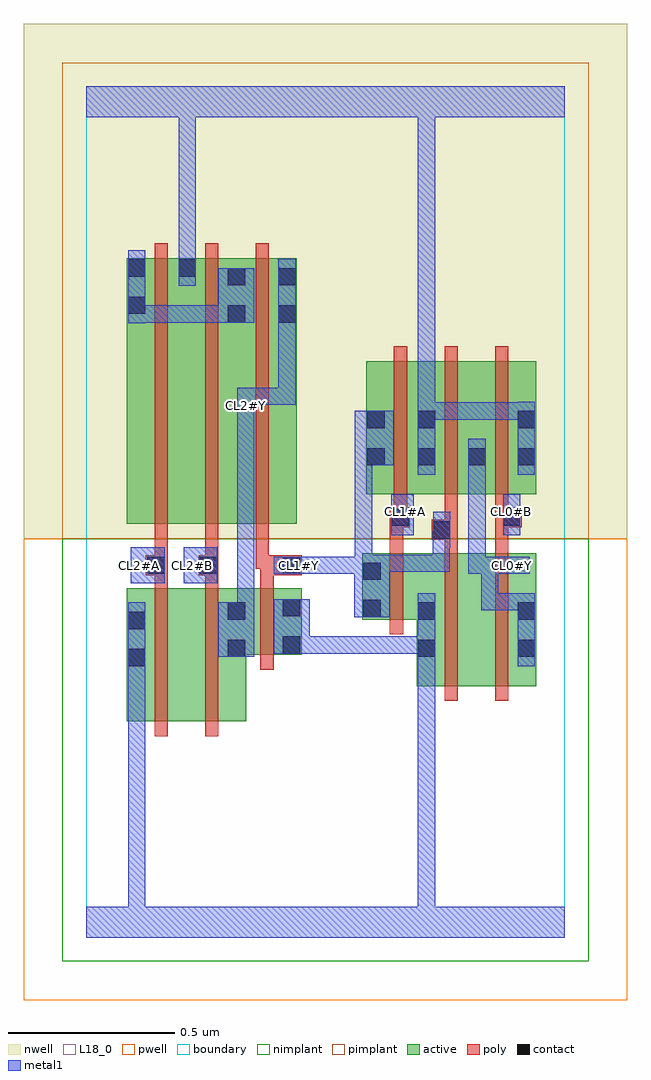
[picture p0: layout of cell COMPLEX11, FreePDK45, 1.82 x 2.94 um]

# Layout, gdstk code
import gdstk
lib = gdstk.Library(unit=1e-6, precision=1e-09)
def R(c, l, rs):  # rectangles x0, y0, x1, y1
    for r in rs: c.add(gdstk.rectangle(r[:2], r[2:], *l))
def A(c, l, x, y, w, h, nx, ny, dx, dy):  # array of equal rectangles
    R(c, l, [(x+i*dx, y+j*dy, x+i*dx+w, y+j*dy+h) for i in range(nx) for j in range(ny)])
active = (1, 0)
pwell = (2, 0)
nwell = (3, 0)
nimplant = (4, 0)
pimplant = (5, 0)
poly = (9, 0)
contact = (10, 0)
metal1 = (11, 0)
L18_0 = (18, 0)
boundary = (235, 0)

complex11 = lib.new_cell('COMPLEX11')
R(complex11, active, [(0.122,0.65,0.182,1.05), (0.122,0.65,0.302,1.05), (0.302,0.65,0.482,1.05), (0.994,0.756,1.174,1.156), (1.174,0.756,1.354,1.156), (1.294,0.756,1.354,1.156), (0.422,0.84,0.482,1.05), (0.994,0.84,1.054,1.028), (0.422,0.85,0.648,1.05), (0.588,0.85,0.648,1.05), (0.83,0.956,1.054,1.156), (0.83,0.956,0.89,1.156), (0.122,1.244,0.182,2.044), (0.122,1.244,0.334,2.044), (0.274,1.244,0.482,2.044), (0.422,1.244,0.634,2.044), (0.574,1.244,0.634,2.044), (0.422,1.31,0.482,2.044), (0.842,1.334,0.902,1.644), (0.842,1.334,1.054,1.734), (0.994,1.334,1.206,1.734), (1.146,1.334,1.354,1.734), (1.294,1.334,1.354,1.644), (0.994,1.416,1.054,1.644), (1.146,1.416,1.206,1.644), (0.274,1.448,0.334,2.044)])
R(complex11, pwell, [(-0.188,-0.188,1.628,1.2)])
R(complex11, nwell, [(-0.188,1.2,1.628,2.748)])
R(complex11, nimplant, [(-0.072,-0.072,1.512,1.2)])
R(complex11, pimplant, [(-0.072,1.2,1.512,2.632)])
A(complex11, poly, 0.206, 1.11, 0.04, 0.13, 3, 1, 0.152, 0)
A(complex11, poly, 0.206, 1.2, 0.04, 0.888, 3, 1, 0.152, 0)
A(complex11, poly, 0.926, 1.29, 0.04, 0.488, 3, 1, 0.152, 0)
R(complex11, poly, [(0.206,0.606,0.246,1.094), (0.358,0.606,0.398,1.094), (1.078,0.712,1.118,1.2), (1.23,0.712,1.27,1.2), (0.524,0.806,0.564,1.094), (0.914,0.912,0.954,1.2), (0.206,1.054,0.246,1.13), (0.358,1.054,0.398,1.13), (0.524,1.054,0.564,1.13), (0.18,1.09,0.246,1.15), (0.206,1.09,0.246,1.13), (0.206,1.09,0.246,1.13), (0.338,1.09,0.398,1.15), (0.524,1.09,0.648,1.15), (0.358,1.11,0.398,1.15), (0.358,1.11,0.398,1.15), (0.51,1.11,0.564,1.15), (0.524,1.11,0.564,1.15), (0.914,1.16,0.954,1.274), (1.078,1.16,1.118,1.236), (1.23,1.16,1.27,1.274), (1.04,1.196,1.118,1.256), (1.078,1.216,1.118,1.256), (1.078,1.216,1.118,1.256), (1.078,1.216,1.118,1.33), (0.914,1.234,0.954,1.274), (0.914,1.234,0.954,1.274), (0.914,1.234,0.974,1.294), (1.23,1.234,1.27,1.274), (1.23,1.234,1.27,1.274), (1.23,1.234,1.31,1.294), (0.926,1.254,0.966,1.33), (1.23,1.254,1.27,1.33)])
A(complex11, contact, 0.846, 1.42, 0.052, 0.052, 3, 1, 0.152, 0)
R(complex11, contact, [(0.126,0.816,0.178,0.868), (0.426,0.844,0.478,0.896), (0.998,0.844,1.05,0.896), (1.298,0.844,1.35,0.896), (0.592,0.854,0.644,0.906), (0.126,0.928,0.178,0.98), (0.426,0.956,0.478,1.008), (0.998,0.956,1.05,1.008), (1.298,0.956,1.35,1.008), (0.834,0.964,0.886,1.016), (0.592,0.966,0.644,1.018), (0.834,1.076,0.886,1.128), (0.184,1.094,0.236,1.146), (0.342,1.094,0.394,1.146), (0.592,1.094,0.644,1.146), (1.044,1.2,1.096,1.252), (0.918,1.238,0.97,1.29), (1.254,1.238,1.306,1.29), (1.298,1.42,1.35,1.472), (0.846,1.532,0.898,1.584), (0.998,1.532,1.05,1.584), (1.298,1.532,1.35,1.584), (0.426,1.85,0.478,1.902), (0.578,1.85,0.63,1.902), (0.126,1.876,0.178,1.928), (0.426,1.962,0.478,2.014), (0.578,1.962,0.63,2.014), (0.126,1.988,0.178,2.04), (0.278,1.988,0.33,2.04)])
R(complex11, metal1, [(0,0,1.44,0.092), (0.126,0.04,0.178,0.092), (0.126,0.04,0.178,0.092), (0.126,0.04,0.178,0.092), (0.126,0.04,0.178,0.092), (0.126,0.04,0.178,0.092), (0.126,0.04,0.178,0.092), (0.126,0.04,0.178,0.84), (0.998,0.04,1.05,0.092), (0.998,0.04,1.05,0.092), (0.998,0.04,1.05,0.092), (0.998,0.04,1.05,0.092), (0.998,0.04,1.05,0.092), (0.998,0.04,1.05,0.092), (0.998,0.04,1.05,0.092), (0.998,0.04,1.05,0.092), (0.998,0.04,1.05,0.092), (0.998,0.04,1.05,0.092), (0.998,0.04,1.05,0.092), (0.998,0.04,1.05,0.092), (0.998,0.04,1.05,0.868), (0.126,0.788,0.178,0.84), (0.126,0.788,0.178,0.84), (0.126,0.788,0.178,0.84), (0.126,0.788,0.178,0.84), (0.126,0.788,0.178,0.84), (0.126,0.788,0.178,0.84), (0.126,0.788,0.178,1.008), (0.998,0.816,1.05,1.036), (1.298,0.816,1.35,1.036), (0.398,0.844,0.506,1.008), (0.564,0.854,0.672,1.018), (0.62,0.854,0.804,0.906), (0.752,0.854,0.804,0.906), (0.752,0.854,0.804,0.906), (0.752,0.854,0.804,0.906), (0.752,0.854,0.804,0.906), (0.752,0.854,0.804,0.906), (0.752,0.854,0.804,0.906), (0.752,0.854,0.804,0.906), (0.752,0.854,1.05,0.906), (0.454,0.956,0.506,1.598), (0.806,0.964,0.914,1.128), (1.188,0.984,1.24,1.036), (1.188,0.984,1.24,1.036), (1.188,0.984,1.24,1.036), (1.188,0.984,1.35,1.036), (1.188,0.984,1.24,1.146), (0.134,1.066,0.236,1.174), (0.294,1.066,0.394,1.174), (0.808,1.076,0.86,1.146), (0.564,1.094,0.694,1.146), (0.642,1.094,0.694,1.146), (0.642,1.094,0.694,1.146), (0.642,1.094,0.86,1.146), (0.808,1.094,0.86,1.152), (1.15,1.094,1.202,1.444), (1.15,1.094,1.334,1.146), (0.808,1.1,0.86,1.152), (0.808,1.1,0.86,1.152), (0.808,1.1,1.094,1.152), (0.808,1.1,0.86,1.472), (1.042,1.1,1.094,1.224), (1.042,1.172,1.096,1.224), (1.044,1.172,1.096,1.28), (0.918,1.21,0.986,1.334), (1.254,1.21,1.306,1.334), (0.998,1.392,1.05,1.612), (1.15,1.392,1.202,1.444), (1.15,1.392,1.202,1.444), (1.15,1.392,1.202,1.5), (1.298,1.392,1.35,1.612), (0.808,1.42,0.86,1.472), (0.808,1.42,0.86,1.472), (0.808,1.42,0.926,1.584), (0.454,1.546,0.506,1.654), (0.998,1.558,1.05,1.61), (0.998,1.558,1.05,1.61), (0.998,1.558,1.204,1.61), (1.152,1.558,1.204,1.61), (1.152,1.558,1.35,1.61), (1.298,1.558,1.35,1.61), (1.298,1.558,1.35,1.61), (0.998,1.56,1.05,1.612), (0.998,1.56,1.05,1.612), (0.998,1.56,1.05,2.52), (0.454,1.602,0.506,1.654), (0.454,1.602,0.506,1.654), (0.454,1.602,0.506,1.654), (0.454,1.602,0.506,1.654), (0.454,1.602,0.63,1.654), (0.578,1.602,0.63,1.654), (0.578,1.602,0.63,1.874), (0.578,1.822,0.63,2.042), (0.126,1.848,0.178,2.068), (0.126,1.85,0.178,1.902), (0.126,1.85,0.178,1.902), (0.126,1.85,0.34,1.902), (0.288,1.85,0.34,1.902), (0.288,1.85,0.34,1.902), (0.288,1.85,0.34,1.902), (0.288,1.85,0.45,1.902), (0.398,1.85,0.506,2.014), (0.278,1.96,0.33,2.068), (0.278,2.016,0.33,2.068), (0.278,2.016,0.33,2.068), (0.278,2.016,0.33,2.068), (0.278,2.016,0.33,2.068), (0.278,2.016,0.33,2.52), (0,2.468,1.44,2.56), (0.278,2.468,0.33,2.52), (0.278,2.468,0.33,2.52), (0.278,2.468,0.33,2.52), (0.278,2.468,0.33,2.52), (0.998,2.468,1.05,2.52), (0.998,2.468,1.05,2.52), (0.998,2.468,1.05,2.52), (0.998,2.468,1.05,2.52), (0.998,2.468,1.05,2.52), (0.998,2.468,1.05,2.52), (0.998,2.468,1.05,2.52), (0.998,2.468,1.05,2.52), (0.998,2.468,1.05,2.52), (0.998,2.468,1.05,2.52), (0.998,2.468,1.05,2.52), (0.998,2.468,1.05,2.52), (0.998,2.468,1.05,2.52), (0.998,2.468,1.05,2.52)])
R(complex11, L18_0, [(0,0,1.44,0.092), (0.126,0.04,0.178,0.092), (0.126,0.04,0.178,0.092), (0.126,0.04,0.178,0.092), (0.126,0.04,0.178,0.092), (0.126,0.04,0.178,0.092), (0.126,0.04,0.178,0.092), (0.126,0.04,0.178,0.84), (0.998,0.04,1.05,0.092), (0.998,0.04,1.05,0.092), (0.998,0.04,1.05,0.092), (0.998,0.04,1.05,0.092), (0.998,0.04,1.05,0.092), (0.998,0.04,1.05,0.092), (0.998,0.04,1.05,0.092), (0.998,0.04,1.05,0.092), (0.998,0.04,1.05,0.092), (0.998,0.04,1.05,0.092), (0.998,0.04,1.05,0.092), (0.998,0.04,1.05,0.092), (0.998,0.04,1.05,0.868), (0.126,0.788,0.178,0.84), (0.126,0.788,0.178,0.84), (0.126,0.788,0.178,0.84), (0.126,0.788,0.178,0.84), (0.126,0.788,0.178,0.84), (0.126,0.788,0.178,0.84), (0.126,0.788,0.178,1.008), (0.998,0.816,1.05,1.036), (1.298,0.816,1.35,1.036), (0.398,0.844,0.506,1.008), (0.564,0.854,0.672,1.018), (0.62,0.854,0.804,0.906), (0.752,0.854,0.804,0.906), (0.752,0.854,0.804,0.906), (0.752,0.854,0.804,0.906), (0.752,0.854,0.804,0.906), (0.752,0.854,0.804,0.906), (0.752,0.854,0.804,0.906), (0.752,0.854,0.804,0.906), (0.752,0.854,1.05,0.906), (0.454,0.956,0.506,1.598), (0.806,0.964,0.914,1.128), (1.188,0.984,1.24,1.036), (1.188,0.984,1.24,1.036), (1.188,0.984,1.24,1.036), (1.188,0.984,1.24,1.146), (1.188,0.984,1.35,1.036), (0.134,1.066,0.236,1.174), (0.294,1.066,0.394,1.174), (0.808,1.076,0.86,1.146), (0.134,1.094,0.186,1.146), (0.294,1.094,0.346,1.146), (0.564,1.094,0.694,1.146), (0.614,1.094,0.666,1.146), (0.642,1.094,0.694,1.146), (0.642,1.094,0.694,1.146), (0.642,1.094,0.86,1.146), (0.808,1.094,0.86,1.152), (1.15,1.094,1.334,1.146), (1.15,1.094,1.202,1.444), (1.254,1.094,1.306,1.146), (0.808,1.1,0.86,1.152), (0.808,1.1,0.86,1.152), (0.808,1.1,0.86,1.472), (0.808,1.1,1.094,1.152), (1.042,1.1,1.094,1.224), (1.042,1.172,1.096,1.224), (1.044,1.172,1.096,1.28), (0.918,1.21,0.986,1.334), (1.254,1.21,1.306,1.334), (0.934,1.254,0.986,1.306), (1.254,1.254,1.306,1.306), (0.998,1.392,1.05,1.612), (1.15,1.392,1.202,1.444), (1.15,1.392,1.202,1.444), (1.15,1.392,1.202,1.5), (1.298,1.392,1.35,1.612), (0.808,1.42,0.86,1.472), (0.808,1.42,0.86,1.472), (0.808,1.42,0.926,1.584), (0.454,1.546,0.506,1.654), (0.998,1.558,1.05,1.61), (0.998,1.558,1.05,1.61), (0.998,1.558,1.204,1.61), (1.152,1.558,1.204,1.61), (1.152,1.558,1.35,1.61), (1.298,1.558,1.35,1.61), (1.298,1.558,1.35,1.61), (0.998,1.56,1.05,1.612), (0.998,1.56,1.05,1.612), (0.998,1.56,1.05,2.52), (0.454,1.574,0.506,1.626), (0.454,1.602,0.506,1.654), (0.454,1.602,0.506,1.654), (0.454,1.602,0.506,1.654), (0.454,1.602,0.506,1.654), (0.454,1.602,0.63,1.654), (0.578,1.602,0.63,1.654), (0.578,1.602,0.63,1.874), (0.578,1.822,0.63,2.042), (0.278,1.96,0.33,2.068), (0.278,2.016,0.33,2.068), (0.278,2.016,0.33,2.068), (0.278,2.016,0.33,2.068), (0.278,2.016,0.33,2.068), (0.278,2.016,0.33,2.52), (0,2.468,1.44,2.56), (0.278,2.468,0.33,2.52), (0.278,2.468,0.33,2.52), (0.278,2.468,0.33,2.52), (0.278,2.468,0.33,2.52), (0.998,2.468,1.05,2.52), (0.998,2.468,1.05,2.52), (0.998,2.468,1.05,2.52), (0.998,2.468,1.05,2.52), (0.998,2.468,1.05,2.52), (0.998,2.468,1.05,2.52), (0.998,2.468,1.05,2.52), (0.998,2.468,1.05,2.52), (0.998,2.468,1.05,2.52), (0.998,2.468,1.05,2.52), (0.998,2.468,1.05,2.52), (0.998,2.468,1.05,2.52), (0.998,2.468,1.05,2.52), (0.998,2.468,1.05,2.52)])
R(complex11, boundary, [(0,0,1.44,2.56)])
complex11.add(gdstk.Label('CL0#B', (1.28,1.28), layer=11, texttype=0))
complex11.add(gdstk.Label('CL0#Y', (1.28,1.12), layer=11, texttype=0))
complex11.add(gdstk.Label('CL1#A', (0.96,1.28), layer=11, texttype=0))
complex11.add(gdstk.Label('CL1#Y', (0.64,1.12), layer=11, texttype=0))
complex11.add(gdstk.Label('CL2#A', (0.16,1.12), layer=11, texttype=0))
complex11.add(gdstk.Label('CL2#B', (0.32,1.12), layer=11, texttype=0))
complex11.add(gdstk.Label('CL2#Y', (0.48,1.6), layer=11, texttype=0))

lib.write_gds('COMPLEX11.gds')
